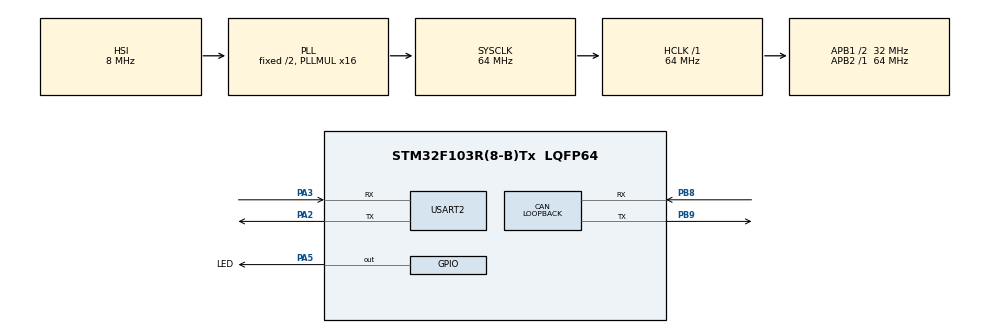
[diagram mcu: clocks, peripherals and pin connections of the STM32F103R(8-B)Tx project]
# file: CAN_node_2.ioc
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CAN.CalculateTimeBit=1500
CAN.CalculateTimeQuantum=500.0
CAN.Mode=CAN_MODE_LOOPBACK
Mcu.Family=STM32F1
Mcu.Name=STM32F103R(8-B)Tx
Mcu.Package=LQFP64
NVIC.CAN1_RX1_IRQn=true\:0\:0\:false\:false\:true
NVIC.CAN1_SCE_IRQn=true\:0\:0\:false\:false\:true
NVIC.PriorityGroup=NVIC_PRIORITYGROUP_4
NVIC.USART2_IRQn=true\:0\:0\:false\:false\:true
NVIC.USB_HP_CAN1_TX_IRQn=true\:0\:0\:false\:false\:true
NVIC.USB_LP_CAN1_RX0_IRQn=true\:0\:0\:false\:false\:true
PA13.Mode=Serial_Wire
PA13.Signal=SYS_JTMS-SWDIO
PA14.Mode=Serial_Wire
PA14.Signal=SYS_JTCK-SWCLK
PA2.Mode=Asynchronous
PA2.Signal=USART2_TX
PA3.Mode=Asynchronous
PA3.Signal=USART2_RX
PA5.GPIO_Label=LED
PA5.Signal=GPIO_Output
PB8.Mode=Master
PB8.Signal=CAN_RX
PB9.Mode=Master
PB9.Signal=CAN_TX
ProjectManager.HeapSize=0x200
ProjectManager.StackSize=0x400
ProjectManager.TargetToolchain=TrueSTUDIO
RCC.AHBCLKDivider=RCC_SYSCLK_DIV1
RCC.AHBFreq_Value=64000000
RCC.APB1CLKDivider=RCC_HCLK_DIV2
RCC.APB1Freq_Value=32000000
RCC.APB1TimFreq_Value=64000000
RCC.APB2CLKDivider=RCC_HCLK_DIV1
RCC.APB2Freq_Value=64000000
RCC.APB2TimFreq_Value=64000000
RCC.ClockTypeHCLK=RCC_CLOCKTYPE_HCLK
RCC.ClockTypePCLK1=RCC_CLOCKTYPE_PCLK1
RCC.ClockTypePCLK2=RCC_CLOCKTYPE_PCLK2
RCC.EnableHSE=false
RCC.EnableHSERTCDevisor=false
RCC.EnableLSE=false
RCC.EnableLSERTC=false
RCC.EnableMCOMultDivisor=false
RCC.HCLKFreq_Value=64000000
RCC.HSEState=RCC_HSE_OFF
RCC.HSIState=RCC_HSI_ON
RCC.IWDGEnable=false
RCC.LSIState=RCC_LSI_OFF
RCC.MCOEnable=false
RCC.OscillatorTypeHSI=RCC_OSCILLATORTYPE_HSI
RCC.PLLMUL=RCC_PLL_MUL16
RCC.PLLSource=RCC_PLLSOURCE_HSI_DIV2
RCC.PLLState=RCC_PLL_ON
RCC.RTCEnable=false
RCC.SYSCLKFreq_VALUE=64000000
RCC.SYSCLKSource=RCC_SYSCLKSOURCE_PLLCLK
RCC.TimSys_Div=SYSTICK_CLKSOURCE_HCLK
RCC.USBFreq_Value=64000000
USART2.HwFlowCtl-Asynchronous=UART_HWCONTROL_NONE
USART2.VirtualMode=VM_ASYNC
board=CAN_node_2

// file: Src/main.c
/**
  ******************************************************************************
  * File Name          : main.c
  * Description        : Main program body
  ******************************************************************************
  *
  * COPYRIGHT(c) 2017 STMicroelectronics
  *
  * Redistribution and use in source and binary forms, with or without modification,
  * are permitted provided that the following conditions are met:
  *   1. Redistributions of source code must retain the above copyright notice,
  *      this list of conditions and the following disclaimer.
  *   2. Redistributions in binary form must reproduce the above copyright notice,
  *      this list of conditions and the following disclaimer in the documentation
  *      and/or other materials provided with the distribution.
  *   3. Neither the name of STMicroelectronics nor the names of its contributors
  *      may be used to endorse or promote products derived from this software
  *      without specific prior written permission.
  *
  * THIS SOFTWARE IS PROVIDED BY THE COPYRIGHT HOLDERS AND CONTRIBUTORS "AS IS"
  * AND ANY EXPRESS OR IMPLIED WARRANTIES, INCLUDING, BUT NOT LIMITED TO, THE
  * IMPLIED WARRANTIES OF MERCHANTABILITY AND FITNESS FOR A PARTICULAR PURPOSE ARE
  * DISCLAIMED. IN NO EVENT SHALL THE COPYRIGHT HOLDER OR CONTRIBUTORS BE LIABLE
  * FOR ANY DIRECT, INDIRECT, INCIDENTAL, SPECIAL, EXEMPLARY, OR CONSEQUENTIAL
  * DAMAGES (INCLUDING, BUT NOT LIMITED TO, PROCUREMENT OF SUBSTITUTE GOODS OR
  * SERVICES; LOSS OF USE, DATA, OR PROFITS; OR BUSINESS INTERRUPTION) HOWEVER
  * CAUSED AND ON ANY THEORY OF LIABILITY, WHETHER IN CONTRACT, STRICT LIABILITY,
  * OR TORT (INCLUDING NEGLIGENCE OR OTHERWISE) ARISING IN ANY WAY OUT OF THE USE
  * OF THIS SOFTWARE, EVEN IF ADVISED OF THE POSSIBILITY OF SUCH DAMAGE.
  *
  ******************************************************************************
  */
#include "main.h"
#include "stm32f1xx_hal.h"
#include "can.h"
#include "usart.h"
#include "gpio.h"

/* USER CODE BEGIN PV */
/* Private variables ---------------------------------------------------------*/
uint8_t uartTxMsg[MSG_PKT_SIZE];
uint8_t uartRxMsg[MSG_PKT_SIZE];
/* USER CODE END PV */

void SystemClock_Config(void);
void Error_Handler(void);

/* USER CODE BEGIN PFP */
/* Private function prototypes -----------------------------------------------*/
void UART_TO_CAN_Transfer();
void CAN_TO_UART_Transfer();
void Parse_Identifier();
/* USER CODE END PFP */

/* USER CODE BEGIN 0 */
void UART_TO_CAN_Transfer()
{
	hcan.pTxMsg->DLC = uartRxMsg[1];
	for(int i = 0; i < hcan.pTxMsg->DLC; i++)
	{
		hcan.pTxMsg->Data[i+2] = uartRxMsg[i+2];
	}
	hcan.pTxMsg->RTR = CAN_RTR_DATA;
	unsigned int id[4];
	id[0] = (unsigned int) ((uartRxMsg[11] << 24) & 0x1F000000);
	id[1] = (unsigned int) ((uartRxMsg[12] << 16) & 0xFF0000);
	id[2] = (unsigned int) ((uartRxMsg[13] << 8) & 0xFF00);
	id[3] = (unsigned int) (uartRxMsg[14] & 0xFF);
	hcan.pTxMsg->ExtId = id[0]|id[1]|id[2]|id[3];
}

void CAN_TO_UART_Transfer()
{
	uartTxMsg[0] = hcan.pRxMsg->DLC;
	for(int i = 0; i < hcan.pRxMsg->DLC; i++)
	{
		uartTxMsg[i+1] = hcan.pRxMsg->Data[i+1];
	}
	uartTxMsg[9] = DATA_FRAME;
	uartTxMsg[10] = (unsigned char) ((hcan.pRxMsg->ExtId >> 24) & 0xFF);
	uartTxMsg[11] = (unsigned char) ((hcan.pRxMsg->ExtId >> 16) & 0xFF);
	uartTxMsg[12] = (unsigned char) ((hcan.pRxMsg->ExtId >> 8) & 0xFF);
	uartTxMsg[13] = (unsigned char) ((hcan.pRxMsg->ExtId) & 0xFF);
	uartTxMsg[14] = ARINC_MSG;
//	if(hcan.pRxMsg->ExtId == 0x82501C0){HAL_GPIO_WritePin( LED_GPIO_Port, LED_Pin, GPIO_PIN_SET);}
}

void HAL_UART_RxCpltCallback(UART_HandleTypeDef * huart)
{
	if(uartRxMsg[0] == ARINC_MSG){
//		UART_TO_CAN_Transfer();

		HAL_UART_Transmit(&huart2, (uint8_t*) &uartRxMsg, 15, 100);
	}else if(uartRxMsg[0] == CTRL_MSG){

		  uartTxMsg[0] = 0x08;
		  // CAN_MSG.data[8]
		  uartTxMsg[1] = 0x13;
		  uartTxMsg[2] = 0x43;
		  uartTxMsg[3] = 0x43;
		  uartTxMsg[4] = 0x43;
		  uartTxMsg[5] = 0x43;
		  uartTxMsg[6] = 0x43;
		  uartTxMsg[7] = 0x43;
		  uartTxMsg[8] = 0x43;
		  // frame type
		  uartTxMsg[9] = DATA_FRAME;
		  // identifier
		  uartTxMsg[10] = 0x08;
		  uartTxMsg[11] = 0x25;
		  uartTxMsg[12] = 0x01;
		  uartTxMsg[13] = 0xC0;
		  // opcode
		  uartTxMsg[14] = ARINC_MSG;

		HAL_UART_Transmit(&huart2, (uint8_t*) &uartTxMsg, 15, 100);

		HAL_UART_Transmit(&huart2, (uint8_t*) &uartTxMsg, 15, 100);
	}

	HAL_UART_Receive_IT(&huart2, uartRxMsg, MSG_PKT_SIZE);
}

void HAL_CAN_TxCpltCallback(CAN_HandleTypeDef *CanHandle)
{
	HAL_GPIO_WritePin( LED_GPIO_Port, LED_Pin, GPIO_PIN_SET);
}

void HAL_CAN_RxCpltCallback(CAN_HandleTypeDef *CanHandle)
{
	HAL_GPIO_WritePin( LED_GPIO_Port, LED_Pin, GPIO_PIN_SET);
	CAN_TO_UART_Transfer();
	HAL_UART_Transmit_IT(&huart2, (uint8_t*) &uartTxMsg, 15);

  /* Receive */
  if (HAL_CAN_Receive_IT(CanHandle, 10) != HAL_OK)
  {
//	  HAL_GPIO_WritePin( LED_GPIO_Port, LED_Pin, GPIO_PIN_SET);
    /* Reception Error */
    Error_Handler();
  }
}
/* USER CODE END 0 */

int main(void)
{

  /* MCU Configuration----------------------------------------------------------*/

  /* Reset of all peripherals, Initializes the Flash interface and the Systick. */
  HAL_Init();

  /* Configure the system clock */
  SystemClock_Config();

  /* Initialize all configured peripherals */
  MX_GPIO_Init();
  MX_USART2_UART_Init();
  MX_CAN_Init();

  /* USER CODE BEGIN 2 */

  //start listening for uart messages
  HAL_UART_Receive_IT(&huart2, uartRxMsg, MSG_PKT_SIZE);

  static CanTxMsgTypeDef        TxMessage;
  static CanRxMsgTypeDef        RxMessage;

  /*##-1- Configure the CAN peripheral #######################################*/
  CAN_FilterConfTypeDef  sFilterConfig;
  hcan.pTxMsg = &TxMessage;
  hcan.pRxMsg = &RxMessage;

  /*##-2- Configure the CAN Filter ###########################################*/
  sFilterConfig.FilterNumber = 0;
  sFilterConfig.FilterMode = CAN_FILTERMODE_IDMASK;
  sFilterConfig.FilterScale = CAN_FILTERSCALE_32BIT;
  sFilterConfig.FilterIdHigh = 0x0000;
  sFilterConfig.FilterIdLow = 0x0000;
  sFilterConfig.FilterMaskIdHigh = 0x0000;
  sFilterConfig.FilterMaskIdLow = 0x0000;
  sFilterConfig.FilterFIFOAssignment = 0;
  sFilterConfig.FilterActivation = ENABLE;
  sFilterConfig.BankNumber = 14;

  if (HAL_CAN_ConfigFilter(&hcan, &sFilterConfig) != HAL_OK)
  {
    /* Filter configuration Error */
    Error_Handler();
  }

  /*##-3- Configure Transmission process #####################################*/
  hcan.pTxMsg->StdId = 0x00;
  hcan.pTxMsg->ExtId = 0xE9E1AC3;
  hcan.pTxMsg->RTR = CAN_RTR_DATA;
  hcan.pTxMsg->IDE = CAN_ID_EXT;
  hcan.pTxMsg->DLC = 8;

  HAL_CAN_Receive_IT(&hcan, CAN_FIFO0);
  /* USER CODE END 2 */

  /* Infinite loop */
  while (1)
  {

  }

}

/** System Clock Configuration
*/
void SystemClock_Config(void)
{

  RCC_OscInitTypeDef RCC_OscInitStruct;
  RCC_ClkInitTypeDef RCC_ClkInitStruct;

    /**Initializes the CPU, AHB and APB busses clocks
    */
  RCC_OscInitStruct.OscillatorType = RCC_OSCILLATORTYPE_HSI;
  RCC_OscInitStruct.HSIState = RCC_HSI_ON;
  RCC_OscInitStruct.HSICalibrationValue = 16;
  RCC_OscInitStruct.PLL.PLLState = RCC_PLL_ON;
  RCC_OscInitStruct.PLL.PLLSource = RCC_PLLSOURCE_HSI_DIV2;
  RCC_OscInitStruct.PLL.PLLMUL = RCC_PLL_MUL16;
  if (HAL_RCC_OscConfig(&RCC_OscInitStruct) != HAL_OK)
  {
    Error_Handler();
  }

    /**Initializes the CPU, AHB and APB busses clocks
    */
  RCC_ClkInitStruct.ClockType = RCC_CLOCKTYPE_HCLK|RCC_CLOCKTYPE_SYSCLK
                              |RCC_CLOCKTYPE_PCLK1|RCC_CLOCKTYPE_PCLK2;
  RCC_ClkInitStruct.SYSCLKSource = RCC_SYSCLKSOURCE_PLLCLK;
  RCC_ClkInitStruct.AHBCLKDivider = RCC_SYSCLK_DIV1;
  RCC_ClkInitStruct.APB1CLKDivider = RCC_HCLK_DIV2;
  RCC_ClkInitStruct.APB2CLKDivider = RCC_HCLK_DIV1;

  if (HAL_RCC_ClockConfig(&RCC_ClkInitStruct, FLASH_LATENCY_2) != HAL_OK)
  {
    Error_Handler();
  }

    /**Configure the Systick interrupt time
    */
  HAL_SYSTICK_Config(HAL_RCC_GetHCLKFreq()/1000);

    /**Configure the Systick
    */
  HAL_SYSTICK_CLKSourceConfig(SYSTICK_CLKSOURCE_HCLK);

  /* SysTick_IRQn interrupt configuration */
  HAL_NVIC_SetPriority(SysTick_IRQn, 0, 0);
}

void Error_Handler(void)
{
  while(1)
  {
  }
}

/************************ (C) COPYRIGHT STMicroelectronics *****END OF FILE****/
